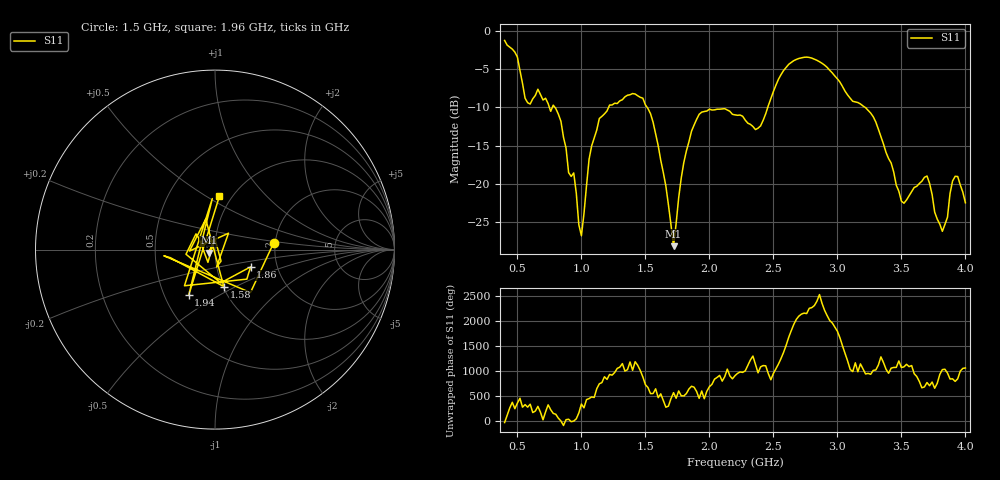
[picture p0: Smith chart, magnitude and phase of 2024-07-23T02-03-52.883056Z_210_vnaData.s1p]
!Created with skrf (http://scikit-rf.org).
# Hz S RI R 50.0
!freq ReS11 ImS11
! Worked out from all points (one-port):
!   181 points, 400 MHz to 4 GHz, reference 50 ohm
!   lowest |S11| = -28.2 dB at 1.72 GHz (marker M1), VSWR 1.08, Z = 46.6 - j1.66 ohm
!   |S11| at or under -10 dB: 792.9 MHz to 1.212 GHz (419.5 MHz wide, 41.8 % of centre); 1.513 GHz to 2.456 GHz (942.7 MHz wide, 47.5 % of centre); 3.216 GHz to end of sweep (the widest 3 of 4)
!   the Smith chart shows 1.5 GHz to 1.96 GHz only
!   S11 on the Smith chart (normalised r, x): 1.5 GHz: 1.96, +0.16; 1.58 GHz: 1.01, -0.43; 1.86 GHz: 1.46, -0.29; 1.94 GHz: 0.66, -0.37; 1.96 GHz: 0.88, +0.57
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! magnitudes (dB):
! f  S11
! 400 MHz  -1.3
! 500 MHz  -3.4
! 580 MHz  -9.4
! 660 MHz  -7.6
! 860 MHz  -13.9
! 940 MHz  -18.6
! 1 GHz  -26.8
! 1.06 GHz  -16.8
! 1.14 GHz  -11.5
! 1.3 GHz  -9.2
! 1.5 GHz  -9.7
! 1.58 GHz  -13.5
! 1.72 GHz  -28.2
! 1.76 GHz  -21.8
! 1.86 GHz  -13.1
! 1.94 GHz  -10.6
! 1.96 GHz  -10.5
! 2.2 GHz  -11.0
! 2.4 GHz  -12.4
! 2.66 GHz  -3.9
! 3.1 GHz  -8.8
! 3.28 GHz  -11.2
! 3.5 GHz  -22.3
! 3.56 GHz  -21.6
! 3.7 GHz  -19.0
! 3.82 GHz  -26.2
! 3.92 GHz  -19.0
! 4 GHz  -22.5
